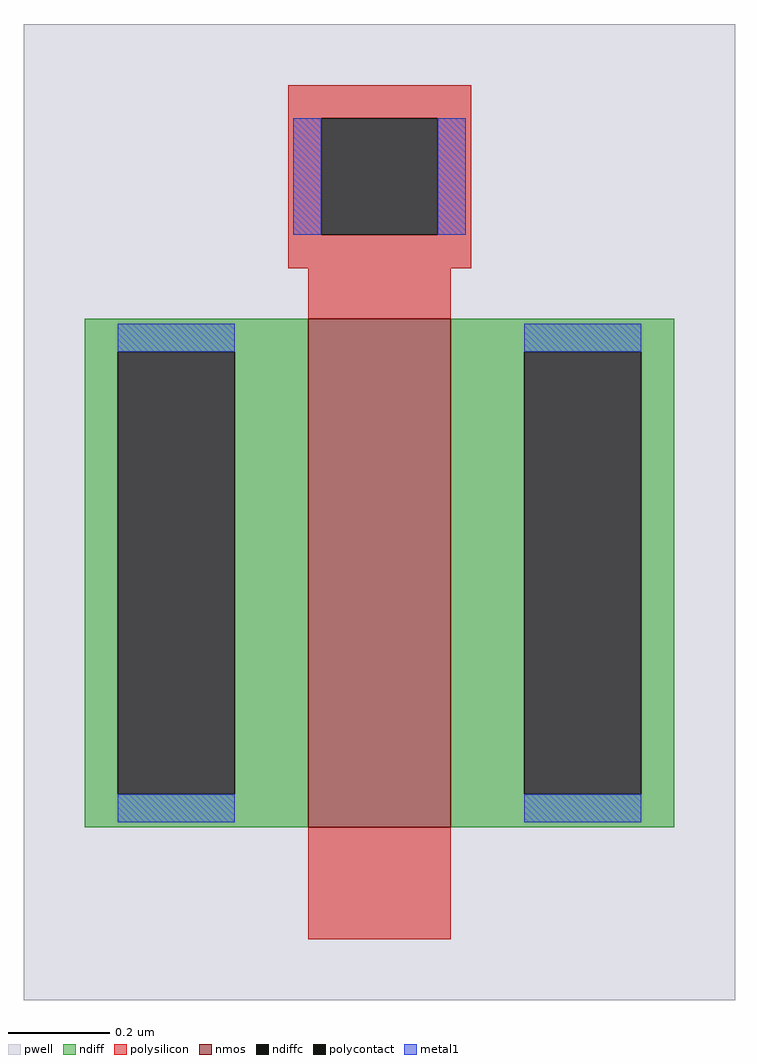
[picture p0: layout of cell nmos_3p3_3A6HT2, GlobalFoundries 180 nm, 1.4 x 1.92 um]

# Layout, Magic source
magic
tech gf180mcuC
magscale 1 10
<< pwell >>
rect -140 -192 140 192
<< nmos >>
rect -28 -124 28 76
<< ndiff >>
rect -116 63 -28 76
rect -116 -111 -103 63
rect -57 -111 -28 63
rect -116 -124 -28 -111
rect 28 63 116 76
rect 28 -111 57 63
rect 103 -111 116 63
rect 28 -124 116 -111
<< ndiffc >>
rect -103 -111 -57 63
rect 57 -111 103 63
<< polysilicon >>
rect -36 155 36 168
rect -36 109 -23 155
rect 23 109 36 155
rect -36 96 36 109
rect -28 76 28 96
rect -28 -168 28 -124
<< polycontact >>
rect -23 109 23 155
<< metal1 >>
rect -34 109 -23 155
rect 23 109 34 155
rect -103 63 -57 74
rect -103 -122 -57 -111
rect 57 63 103 74
rect 57 -122 103 -111
<< properties >>
string gencell nmos_3p3
string library gf180mcu
string parameters w 1 l 0.280 m 1 nf 1 diffcov 100 polycov 100 guard 0 glc 0 grc 0 gtc 0 gbc 0 tbcov 100 rlcov 100 topc 1 botc 0 poverlap 0 doverlap 1 lmin 0.28 wmin 0.22 full_metal 0 compatible {nmos_3p3 nmos_6p0 nmos_6p0_nat}
<< end >>
